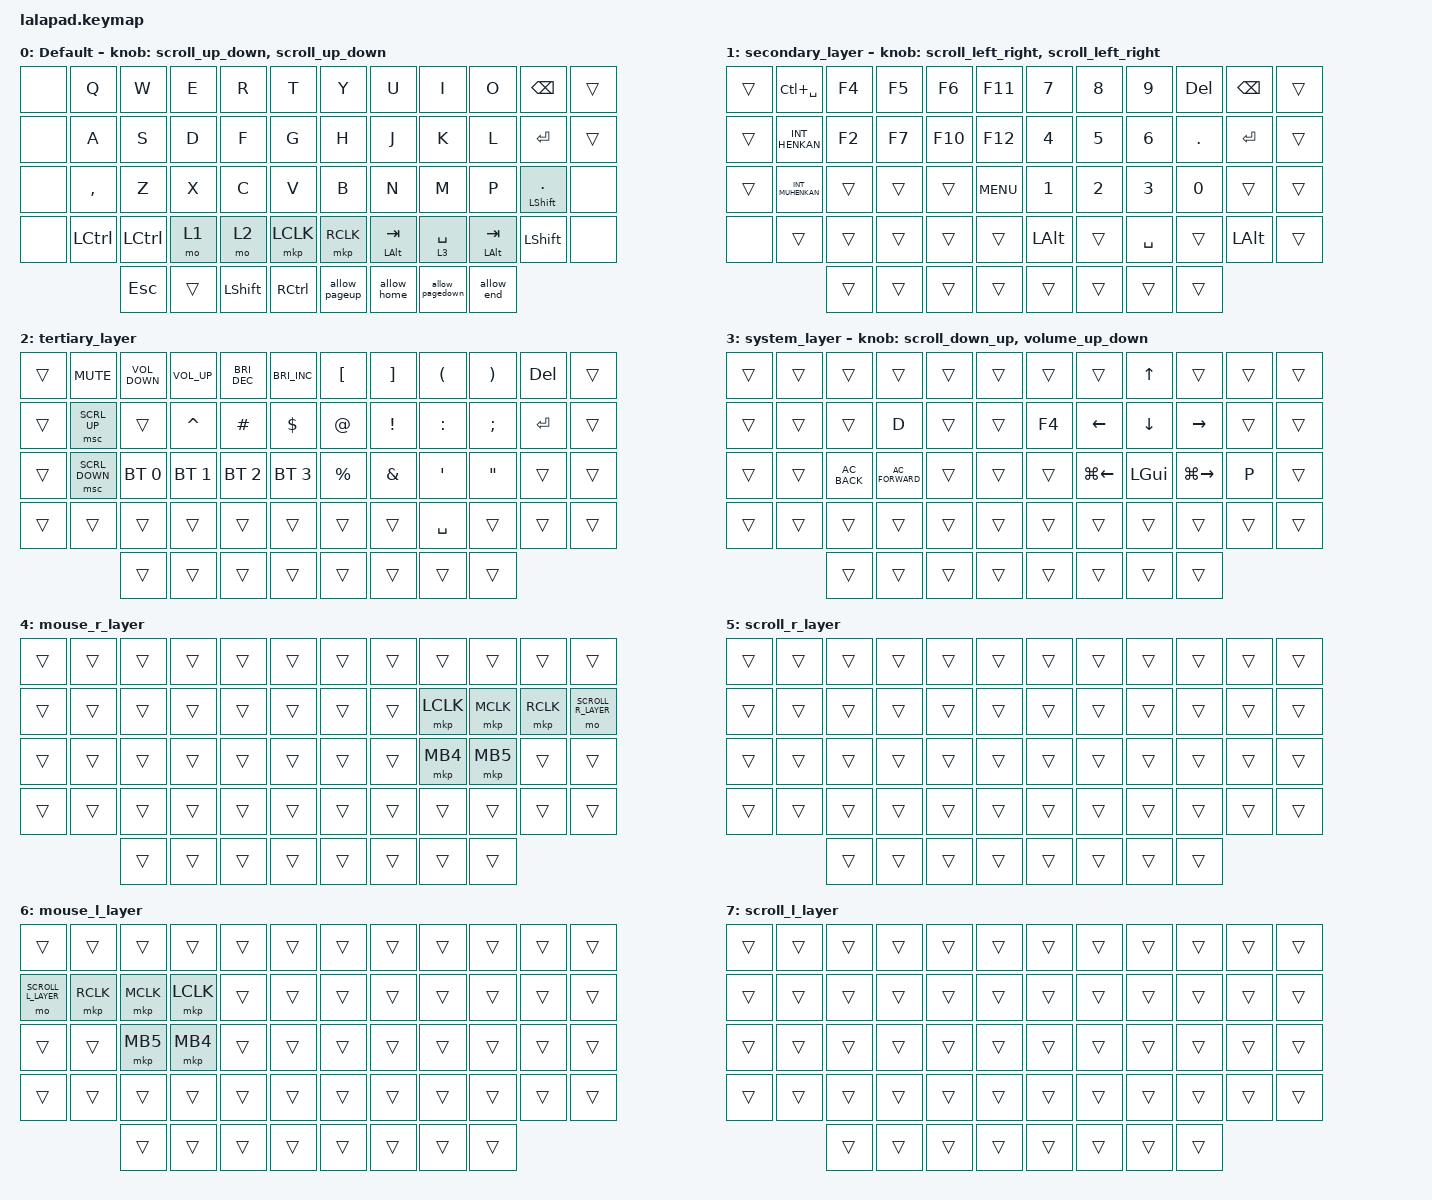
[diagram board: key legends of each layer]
#include <input/processors.dtsi>
#include <behaviors.dtsi>
#include <dt-bindings/zmk/bt.h>
#include <dt-bindings/zmk/keys.h>
#include <dt-bindings/zmk/pointing.h>

#define DEFAULT_LAYER   0
#define SECONDARY_LAYER 1
#define TERTIARY_LAYER  2
#define SYSTEM_LAYER    3
#define MOUSE_R_LAYER   4
#define SCROLL_R_LAYER  5
#define MOUSE_L_LAYER   6
#define SCROLL_L_LAYER  7

// Mouse Scroll Value

#define ZMK_POINTING_DEFAULT_SCRL_VAL 100

// cirque trackpad input&layer control

&glidepoint_listener_R {
    input-processors =
        <&zip_xy_transform (INPUT_TRANSFORM_XY_SWAP | INPUT_TRANSFORM_X_INVERT | INPUT_TRANSFORM_Y_INVERT)>,
        <&zip_xy_scaler 3 2>,
        <&zip_temp_layer MOUSE_R_LAYER 250>;

    lowspeedmode {
        layers = <SECONDARY_LAYER>;
        input-processors =
            <&zip_xy_transform (INPUT_TRANSFORM_XY_SWAP | INPUT_TRANSFORM_X_INVERT | INPUT_TRANSFORM_Y_INVERT)>,
            <&zip_xy_scaler 3 5>,
            <&zip_temp_layer MOUSE_R_LAYER 250>;
    };

    scroller {
        layers = <SCROLL_R_LAYER>;
        input-processors =
            <&zip_xy_to_scroll_mapper>,
            <&zip_scroll_transform (INPUT_TRANSFORM_XY_SWAP | INPUT_TRANSFORM_Y_INVERT)>,
            <&zip_scroll_scaler 1 8>;
    };
};

&glidepoint_listener_L {
    input-processors =
        <&zip_xy_transform (INPUT_TRANSFORM_XY_SWAP | INPUT_TRANSFORM_X_INVERT | INPUT_TRANSFORM_Y_INVERT)>,
        <&zip_xy_scaler 3 2>,
        <&zip_temp_layer MOUSE_L_LAYER 250>;

    lowspeedmode {
        layers = <SECONDARY_LAYER>;
        input-processors =
            <&zip_xy_transform (INPUT_TRANSFORM_XY_SWAP | INPUT_TRANSFORM_X_INVERT | INPUT_TRANSFORM_Y_INVERT)>,
            <&zip_xy_scaler 3 4>,
            <&zip_temp_layer MOUSE_L_LAYER 250>;
    };

    scroller {
        layers = <SCROLL_L_LAYER>;
        input-processors =
            <&zip_xy_to_scroll_mapper>,
            <&zip_scroll_transform (INPUT_TRANSFORM_XY_SWAP | INPUT_TRANSFORM_Y_INVERT)>,
            <&zip_scroll_scaler 1 6>;
    };
};

&mt {
    tapping-term-ms = <150>;
    quick-tap-ms = <120>;
};

&lt {
    tapping-term-ms = <150>;
    quick-tap-ms = <120>;
};

/ {
    behaviors {
        // Encoder to Mouse Scroll

        scroll_up_down: sensor_scroll_up_down {
            compatible = "zmk,behavior-sensor-rotate";
            #sensor-binding-cells = <0>;
            bindings = <&msc SCRL_UP>, <&msc SCRL_DOWN>;

            tap-ms = <20>;
            label = "SCROLL_UP_DOWN";
        };

        scroll_down_up: sensor_scroll_down_up {
            compatible = "zmk,behavior-sensor-rotate";
            #sensor-binding-cells = <0>;
            bindings = <&msc SCRL_DOWN>, <&msc SCRL_UP>;

            tap-ms = <20>;
            label = "SCROLL_DOWN_UP";
        };

        scroll_left_right: sensor_scroll_left_right {
            compatible = "zmk,behavior-sensor-rotate";
            #sensor-binding-cells = <0>;
            bindings = <&msc SCRL_LEFT>, <&msc SCRL_RIGHT>;

            tap-ms = <20>;
            label = "SCROLL_LEFT_RIGHT";
        };

        scroll_right_left: sensor_scroll_right_left {
            compatible = "zmk,behavior-sensor-rotate";
            #sensor-binding-cells = <0>;
            bindings = <&msc SCRL_RIGHT>, <&msc SCRL_LEFT>;

            tap-ms = <20>;
            label = "SCROLL_RIGHT_LEFT";
        };

        volume_up_down: sensor_volume_up_down {
            compatible = "zmk,behavior-sensor-rotate";
            #sensor-binding-cells = <0>;
            bindings = <&kp C_VOLUME_UP>, <&kp C_VOLUME_DOWN>;

            tap-ms = <20>;
            label = "VOLUME_UP_DOWN";
        };

        dot_comma: dot_comma {
            compatible = "zmk,behavior-mod-morph";
            #binding-cells = <0>;
            bindings = <&kp KP_DOT>, <&kp COMMA>;

            mods = <(MOD_LSFT|MOD_RSFT)>;
            label = "DOT_COMMA";
        };

        pls_minus: pls_minus {
            compatible = "zmk,behavior-mod-morph";
            #binding-cells = <0>;
            bindings = <&kp PLUS>, <&kp MINUS>;

            mods = <(MOD_LSFT|MOD_RSFT)>;
            label = "PLS_MINUS";
        };

        allow_pageup: allow_pageup {
            compatible = "zmk,behavior-mod-morph";
            #binding-cells = <0>;
            bindings = <&kp UP>, <&kp PAGE_UP>;

            mods = <(MOD_LCTL|MOD_RCTL)>;
            label = "ALLOW_PAGEUP";
        };

        allow_pagedown: allow_pagedown {
            compatible = "zmk,behavior-mod-morph";
            #binding-cells = <0>;
            bindings = <&kp DOWN>, <&kp PAGE_DOWN>;

            mods = <(MOD_LCTL|MOD_RCTL)>;
            label = "ALLOW_PAGEDOWN";
        };

        allow_home: allow_home {
            compatible = "zmk,behavior-mod-morph";
            #binding-cells = <0>;
            bindings = <&kp LEFT>, <&kp HOME>;

            mods = <(MOD_LCTL|MOD_RCTL)>;
            label = "ALLOW_HOME";
        };

        allow_end: allow_end {
            compatible = "zmk,behavior-mod-morph";
            #binding-cells = <0>;
            bindings = <&kp RIGHT>, <&kp END>;

            mods = <(MOD_LCTL|MOD_RCTL)>;
            label = "ALLOW_END";
        };
    };

    combos {
        compatible = "zmk,combos";

        minus {
            bindings = <&kp MINUS>;
            key-positions = <18 19>;
        };

        hatena {
            bindings = <&kp QUESTION>;
            key-positions = <30 31>;
        };

        slash {
            bindings = <&kp SLASH>;
            key-positions = <6 7>;
        };

        plus {
            bindings = <&kp PLUS>;
            key-positions = <16 17>;
        };

        asterisk {
            bindings = <&kp ASTERISK>;
            key-positions = <4 5>;
        };

        equal {
            bindings = <&kp EQUAL>;
            key-positions = <28 29>;
        };

        unyounyo {
            bindings = <&kp LS(GRAVE)>;
            key-positions = <20 21>;
        };

        lock {
            bindings = <&kp LG(L)>;
            key-positions = <2 21>;
        };

        plint {
            bindings = <&kp PRINTSCREEN>;
            key-positions = <10 21>;
        };

        rightcl {
            bindings = <&mkp RCLK>;
            key-positions = <29 41>;
        };

        kuten {
            bindings = <&kp COMMA>;
            key-positions = <32 33>;
        };

        esc {
            bindings = <&kp ESCAPE>;
            key-positions = <1 2>;
        };
    };

    macros {
        kagi: kagi {
            compatible = "zmk,behavior-macro";
            #binding-cells = <0>;
            bindings = <&kp LEFT_BRACKET &kp RBKT &kp LEFT>;
            label = "KAGI";
        };

        kakko: kakko {
            compatible = "zmk,behavior-macro";
            #binding-cells = <0>;
            bindings = <&kp LEFT_PARENTHESIS &kp RIGHT_PARENTHESIS &kp LEFT>;
            label = "KAKKO";
        };
    };

    keymap {
        compatible = "zmk,keymap";

        DEFAULT_LAYER {
            display-name = "Default";
            sensor-bindings = <&scroll_up_down>, <&scroll_up_down>;

            bindings = <
&none  &kp Q      &kp W       &kp E   &kp R           &kp T      &kp Y          &kp U             &kp I            &kp O             &kp BACKSPACE          &trans
&none  &kp A      &kp S       &kp D   &kp F           &kp G      &kp H          &kp J             &kp K            &kp L             &kp ENTER              &trans
&none  &kp COMMA  &kp Z       &kp X   &kp C           &kp V      &kp B          &kp N             &kp M            &kp P             &mt LEFT_SHIFT PERIOD  &none
&none  &kp LCTRL  &kp LCTRL   &mo 1   &mo 2           &mkp LCLK  &mkp RCLK      &mt LEFT_ALT TAB  &lt 3 SPACE      &mt LEFT_ALT TAB  &kp LEFT_SHIFT         &none
                  &kp ESCAPE  &trans  &kp LEFT_SHIFT  &kp RCTRL  &allow_pageup  &allow_home       &allow_pagedown  &allow_end
            >;
        };

        SECONDARY_LAYER {
            display-name = "secondary_layer";
            sensor-bindings = <&scroll_left_right>, <&scroll_left_right>;

            bindings = <
&trans  &kp LC(SPACE)     &kp F4  &kp F5  &kp F6   &kp F11     &kp NUMBER_7  &kp NUMBER_8  &kp NUMBER_9  &kp DELETE    &kp BACKSPACE  &trans
&trans  &kp INT_HENKAN    &kp F2  &kp F7  &kp F10  &kp F12     &kp NUMBER_4  &kp NUMBER_5  &kp NUMBER_6  &kp DOT       &kp ENTER      &trans
&trans  &kp INT_MUHENKAN  &trans  &trans  &trans   &kp C_MENU  &kp NUMBER_1  &kp NUMBER_2  &kp NUMBER_3  &kp NUMBER_0  &trans         &trans
&none   &trans            &trans  &trans  &trans   &trans      &kp LEFT_ALT  &trans        &kp SPACE     &trans        &kp LEFT_ALT   &trans
                          &trans  &trans  &trans   &trans      &trans        &trans        &trans        &trans
            >;
        };

        TERTIARY_LAYER {
            display-name = "tertiary_layer";
            bindings = <
&trans  &kp C_MUTE      &kp C_VOLUME_DOWN  &kp C_VOLUME_UP  &kp C_BRIGHTNESS_DEC  &kp C_BRIGHTNESS_INC  &kp LEFT_BRACKET  &kp RIGHT_BRACKET  &kp LEFT_PARENTHESIS  &kp RIGHT_PARENTHESIS  &kp DELETE  &trans
&trans  &msc SCRL_UP    &trans             &kp CARET        &kp HASH              &kp DOLLAR            &kp AT_SIGN       &kp EXCLAMATION    &kp COLON             &kp SEMICOLON          &kp ENTER   &trans
&trans  &msc SCRL_DOWN  &bt BT_SEL 0       &bt BT_SEL 1     &bt BT_SEL 2          &bt BT_SEL 3          &kp PERCENT       &kp AMPERSAND      &kp SINGLE_QUOTE      &kp DOUBLE_QUOTES      &trans      &trans
&trans  &trans          &trans             &trans           &trans                &trans                &trans            &trans             &kp SPACE             &trans                 &trans      &trans
                        &trans             &trans           &trans                &trans                &trans            &trans             &trans                &trans
            >;
        };

        SYSTEM_LAYER {
            display-name = "system_layer";
            sensor-bindings = <&scroll_down_up>, <&volume_up_down>;

            bindings = <
&trans  &trans  &trans         &trans            &trans  &trans  &trans  &trans        &kp UP_ARROW  &trans         &trans  &trans
&trans  &trans  &trans         &kp D             &trans  &trans  &kp F4  &kp LEFT      &kp DOWN      &kp RIGHT      &trans  &trans
&trans  &trans  &kp C_AC_BACK  &kp C_AC_FORWARD  &trans  &trans  &trans  &kp LG(LEFT)  &kp LEFT_GUI  &kp LG(RIGHT)  &kp P   &trans
&trans  &trans  &trans         &trans            &trans  &trans  &trans  &trans        &trans        &trans         &trans  &trans
                &trans         &trans            &trans  &trans  &trans  &trans        &trans        &trans
            >;
        };

        MOUSE_R_LAYER {
            display-name = "mouse_r_layer";
            bindings = <
&trans  &trans  &trans  &trans  &trans  &trans  &trans  &trans  &trans     &trans     &trans     &trans
&trans  &trans  &trans  &trans  &trans  &trans  &trans  &trans  &mkp LCLK  &mkp MCLK  &mkp RCLK  &mo SCROLL_R_LAYER
&trans  &trans  &trans  &trans  &trans  &trans  &trans  &trans  &mkp MB4   &mkp MB5   &trans     &trans
&trans  &trans  &trans  &trans  &trans  &trans  &trans  &trans  &trans     &trans     &trans     &trans
                &trans  &trans  &trans  &trans  &trans  &trans  &trans     &trans
            >;
        };

        SCROLL_R_LAYER {
            display-name = "scroll_r_layer";
            bindings = <
&trans  &trans  &trans  &trans  &trans  &trans  &trans  &trans  &trans  &trans  &trans  &trans
&trans  &trans  &trans  &trans  &trans  &trans  &trans  &trans  &trans  &trans  &trans  &trans
&trans  &trans  &trans  &trans  &trans  &trans  &trans  &trans  &trans  &trans  &trans  &trans
&trans  &trans  &trans  &trans  &trans  &trans  &trans  &trans  &trans  &trans  &trans  &trans
                &trans  &trans  &trans  &trans  &trans  &trans  &trans  &trans
            >;
        };

        MOUSE_L_LAYER {
            display-name = "mouse_l_layer";
            bindings = <
&trans              &trans     &trans     &trans     &trans  &trans  &trans  &trans  &trans  &trans  &trans  &trans
&mo SCROLL_L_LAYER  &mkp RCLK  &mkp MCLK  &mkp LCLK  &trans  &trans  &trans  &trans  &trans  &trans  &trans  &trans
&trans              &trans     &mkp MB5   &mkp MB4   &trans  &trans  &trans  &trans  &trans  &trans  &trans  &trans
&trans              &trans     &trans     &trans     &trans  &trans  &trans  &trans  &trans  &trans  &trans  &trans
                               &trans     &trans     &trans  &trans  &trans  &trans  &trans  &trans
            >;
        };

        SCROLL_L_LAYER {
            display-name = "scroll_l_layer";
            bindings = <
&trans  &trans  &trans  &trans  &trans  &trans  &trans  &trans  &trans  &trans  &trans  &trans
&trans  &trans  &trans  &trans  &trans  &trans  &trans  &trans  &trans  &trans  &trans  &trans
&trans  &trans  &trans  &trans  &trans  &trans  &trans  &trans  &trans  &trans  &trans  &trans
&trans  &trans  &trans  &trans  &trans  &trans  &trans  &trans  &trans  &trans  &trans  &trans
                &trans  &trans  &trans  &trans  &trans  &trans  &trans  &trans
            >;
        };
    };
};
